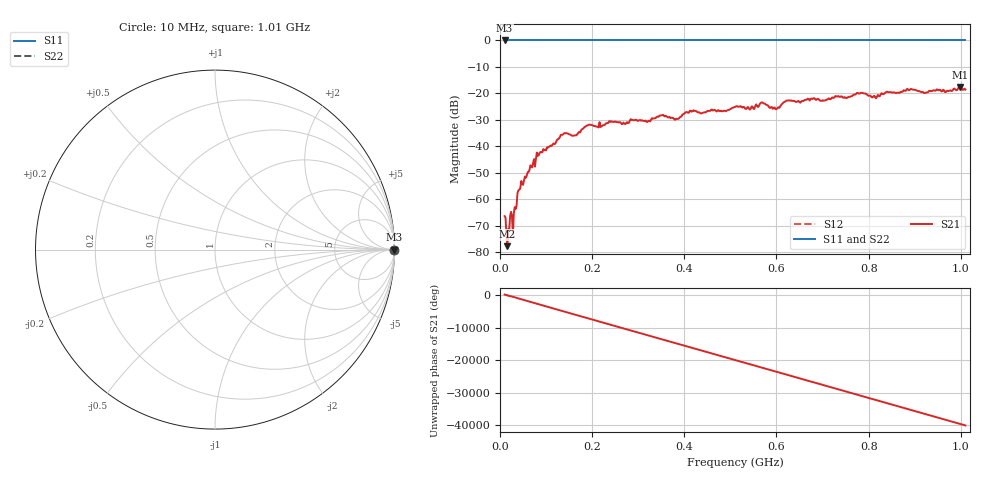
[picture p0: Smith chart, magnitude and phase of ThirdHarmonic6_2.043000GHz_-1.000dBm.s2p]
! 8/17/2025 12:30:12 AM
! C:\ANRITSUVNA\TEMP\TEMP.S2P
! CHANNEL.1
! TR.MEASUREMENT
! RAW.DATA
! RF.CORRECTION.OFF
! AVERAGING.OFF
! IF.BANDWIDTH: 5KHZ
! SWEEPTYPE:  FREQ.SWEEP(Linear)
! Reference Plane Port Info
! PORT:  PORT1  PORT2
! DISTANCE:  0  m  0  m
! TIME:  0  s  0  s
! PHASE.OFFSET:  0  deg.  0  deg.
! LOSS:  0  dB  0  dB
! REF.LOSS:  0  dB  0  dB
! REF.FREQ:  0  Hz  0  Hz
! Power Info
! POWER:  -20  dBm  -20  dBm
! EFF.POWER:  -20  dBm  -20  dBm
! SOURCE.ATTEN:  0  dB  0  dB
! TEST.ATTEN:  0  dB  0  dB
# GHZ S RI R 50.0
! FREQ.GHZ  S11RE  S11IM  S21RE  S21IM  S12RE  S12IM  S22RE  S22IM
!; PortSelection: Port_12
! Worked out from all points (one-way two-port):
!   501 points, 10 MHz to 1.01 GHz, reference 50 ohm
!   highest |S21| = -17.54 dB at 998 MHz (marker M1); lowest = -77.8 dB at 16 MHz (marker M2)
!   lowest |S11| = 0.0 dB at 10 MHz (marker M3)
!   |S11| at or under -10 dB: nowhere
!   |S22| runs from 0.0 to 0.0 dB; largest |S21 - S12| = 1.1
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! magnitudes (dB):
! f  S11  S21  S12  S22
! 10 MHz  0.0  -66.4  0.0  0.0
! 16 MHz  0.0  -77.8  0.0  0.0
! 22 MHz  0.0  -66.4  0.0  0.0
! 32 MHz  0.0  -63.0  0.0  0.0
! 42 MHz  0.0  -56.4  0.0  0.0
! 84 MHz  0.0  -43.4  0.0  0.0
! 136 MHz  0.0  -35.6  0.0  0.0
! 162 MHz  0.0  -35.9  0.0  0.0
! 178 MHz  0.0  -33.6  0.0  0.0
! 344 MHz  0.0  -28.9  0.0  0.0
! 382 MHz  0.0  -29.6  0.0  0.0
! 416 MHz  0.0  -26.9  0.0  0.0
! 510 MHz  0.0  -25.1  0.0  0.0
! 570 MHz  0.0  -23.5  0.0  0.0
! 602 MHz  0.0  -25.5  0.0  0.0
! 624 MHz  0.0  -22.7  0.0  0.0
! 678 MHz  0.0  -22.1  0.0  0.0
! 786 MHz  0.0  -19.8  0.0  0.0
! 812 MHz  0.0  -20.9  0.0  0.0
! 844 MHz  0.0  -19.6  0.0  0.0
! 998 MHz  0.0  -17.5  0.0  0.0
! 1.01 GHz  0.0  -18.6  0.0  0.0
